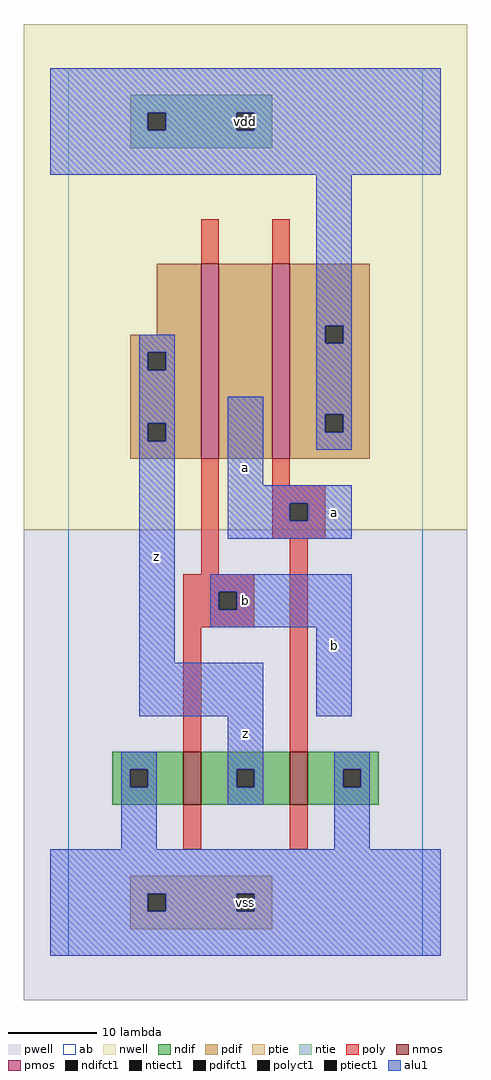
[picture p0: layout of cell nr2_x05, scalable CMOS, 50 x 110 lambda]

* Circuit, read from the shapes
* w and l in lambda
.subckt nr2_x05 a b vdd vss z
M1 z b vss vss nfet w=6 l=2
M2 vss a z vss nfet w=6 l=2
M3 n1 b z vdd pfet w=22 l=2
M4 vdd a n1 vdd pfet w=22 l=2
.ends

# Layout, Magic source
magic
tech scmos
<< ab >>
rect 0 0 40 100
<< nwell >>
rect -5 48 45 105
<< pwell >>
rect -5 -5 45 48
<< poly >>
rect 15 78 17 83
rect 23 78 25 83
rect 15 43 17 56
rect 23 53 25 56
rect 23 51 29 53
rect 23 49 25 51
rect 27 49 29 51
rect 23 47 29 49
rect 13 41 21 43
rect 13 39 17 41
rect 19 39 21 41
rect 13 37 21 39
rect 13 23 15 37
rect 25 23 27 47
rect 13 12 15 17
rect 25 12 27 17
<< ndif >>
rect 5 21 13 23
rect 5 19 7 21
rect 9 19 13 21
rect 5 17 13 19
rect 15 21 25 23
rect 15 19 19 21
rect 21 19 25 21
rect 15 17 25 19
rect 27 21 35 23
rect 27 19 31 21
rect 33 19 35 21
rect 27 17 35 19
<< pdif >>
rect 10 70 15 78
rect 7 68 15 70
rect 7 66 9 68
rect 11 66 15 68
rect 7 60 15 66
rect 7 58 9 60
rect 11 58 15 60
rect 7 56 15 58
rect 17 56 23 78
rect 25 71 34 78
rect 25 69 29 71
rect 31 69 34 71
rect 25 61 34 69
rect 25 59 29 61
rect 31 59 34 61
rect 25 56 34 59
<< alu1 >>
rect -2 95 42 100
rect -2 93 9 95
rect 11 93 19 95
rect 21 93 42 95
rect -2 88 42 93
rect 28 71 32 88
rect 8 68 12 70
rect 8 66 9 68
rect 11 66 12 68
rect 8 60 12 66
rect 28 69 29 71
rect 31 69 32 71
rect 8 58 9 60
rect 11 58 12 60
rect 8 33 12 58
rect 18 53 22 63
rect 28 61 32 69
rect 28 59 29 61
rect 31 59 32 61
rect 28 57 32 59
rect 18 51 32 53
rect 18 49 25 51
rect 27 49 32 51
rect 18 47 32 49
rect 16 41 32 43
rect 16 39 17 41
rect 19 39 32 41
rect 16 37 32 39
rect 8 27 22 33
rect 28 27 32 37
rect 6 21 10 23
rect 6 19 7 21
rect 9 19 10 21
rect 6 12 10 19
rect 18 21 22 27
rect 18 19 19 21
rect 21 19 22 21
rect 18 17 22 19
rect 30 21 34 23
rect 30 19 31 21
rect 33 19 34 21
rect 30 12 34 19
rect -2 7 42 12
rect -2 5 9 7
rect 11 5 19 7
rect 21 5 42 7
rect -2 0 42 5
<< ptie >>
rect 7 7 23 9
rect 7 5 9 7
rect 11 5 19 7
rect 21 5 23 7
rect 7 3 23 5
<< ntie >>
rect 7 95 23 97
rect 7 93 9 95
rect 11 93 19 95
rect 21 93 23 95
rect 7 91 23 93
<< nmos >>
rect 13 17 15 23
rect 25 17 27 23
<< pmos >>
rect 15 56 17 78
rect 23 56 25 78
<< polyct1 >>
rect 25 49 27 51
rect 17 39 19 41
<< ndifct1 >>
rect 7 19 9 21
rect 19 19 21 21
rect 31 19 33 21
<< ntiect1 >>
rect 9 93 11 95
rect 19 93 21 95
<< ptiect1 >>
rect 9 5 11 7
rect 19 5 21 7
<< pdifct1 >>
rect 9 66 11 68
rect 9 58 11 60
rect 29 69 31 71
rect 29 59 31 61
<< labels >>
rlabel alu1 10 45 10 45 6 z
rlabel ptiect1 20 6 20 6 6 vss
rlabel alu1 20 25 20 25 6 z
rlabel alu1 20 40 20 40 6 b
rlabel alu1 20 55 20 55 6 a
rlabel ntiect1 20 94 20 94 6 vdd
rlabel alu1 30 35 30 35 6 b
rlabel alu1 30 50 30 50 6 a
<< end >>
